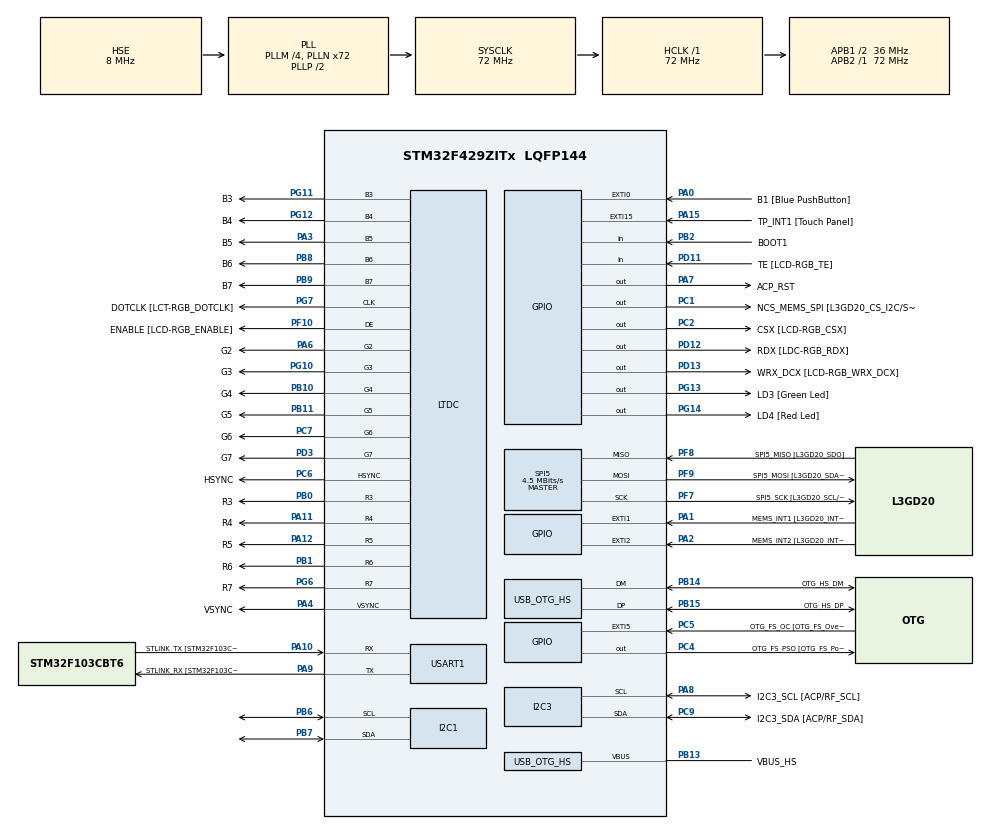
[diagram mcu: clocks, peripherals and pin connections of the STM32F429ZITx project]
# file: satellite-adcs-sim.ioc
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FREERTOS.Tasks01=defaultTask,0,4096,StartDefaultTask,Default,NULL,Dynamic,NULL,NULL
FREERTOS.configCHECK_FOR_STACK_OVERFLOW=2
FREERTOS.configTOTAL_HEAP_SIZE=32768
FREERTOS.configUSE_APPLICATION_TASK_TAG=1
FREERTOS.configUSE_COUNTING_SEMAPHORES=1
FREERTOS.configUSE_IDLE_HOOK=1
FREERTOS.configUSE_MALLOC_FAILED_HOOK=1
FREERTOS.configUSE_RECURSIVE_MUTEXES=1
LTDC.ActiveH=320
LTDC.ActiveW=240
LTDC.Alpha_L0=255
LTDC.BlendingFactor1_L0=LTDC_BLENDING_FACTOR1_PAxCA
LTDC.BlendingFactor2_L0=LTDC_BLENDING_FACTOR2_PAxCA
LTDC.FBStartAdress_L0=0xD0000000
LTDC.HBP=20
LTDC.HFP=10
LTDC.HSync=10
LTDC.ImageHeight_L0=320
LTDC.ImageWidth_L0=240
LTDC.Layers=0
LTDC.PixelFormat_L0=LTDC_PIXEL_FORMAT_RGB565
LTDC.VFP=4
LTDC.VSync=2
LTDC.WindowX1_L0=240
LTDC.WindowY1_L0=320
Mcu.Family=STM32F4
Mcu.Name=STM32F429ZITx
Mcu.Package=LQFP144
NVIC.DMA2D_IRQn=true\:5\:0\:true\:false\:true\:true\:true\:true\:true
NVIC.LTDC_IRQn=true\:5\:0\:true\:false\:true\:true\:true\:true\:true
NVIC.OTG_HS_IRQn=true\:5\:0\:false\:false\:true\:true\:true\:true\:true
NVIC.PriorityGroup=NVIC_PRIORITYGROUP_4
NVIC.TIM6_DAC_IRQn=true\:0\:0\:false\:false\:true\:false\:false\:true\:true
NVIC.TimeBase=TIM6_DAC_IRQn
NVIC.TimeBaseIP=TIM6
PA0/WKUP.GPIO_Label=B1 [Blue PushButton]
PA0/WKUP.GPIO_ModeDefaultEXTI=GPIO_MODE_EVT_RISING
PA0/WKUP.GPIO_PuPd=GPIO_NOPULL
PA0/WKUP.Signal=GPXTI0
PA1.GPIO_Label=MEMS_INT1 [L3GD20_INT1]
PA1.GPIO_ModeDefaultEXTI=GPIO_MODE_EVT_RISING
PA1.GPIO_PuPd=GPIO_NOPULL
PA1.Signal=GPXTI1
PA10.GPIO_Label=STLINK_TX [STM32F103CBT6_PA2]
PA10.Mode=Asynchronous
PA10.Signal=USART1_RX
PA11.GPIO_Label=R4
PA11.GPIO_Mode=GPIO_MODE_AF_PP
PA11.GPIO_PuPd=GPIO_NOPULL
PA11.GPIO_Speed=GPIO_SPEED_FREQ_LOW
PA11.Mode=RGB565
PA11.Signal=LTDC_R4
PA12.GPIO_Label=R5
PA12.GPIO_Mode=GPIO_MODE_AF_PP
PA12.GPIO_PuPd=GPIO_NOPULL
PA12.GPIO_Speed=GPIO_SPEED_FREQ_LOW
PA12.Mode=RGB565
PA12.Signal=LTDC_R5
PA13.GPIO_Label=SWDIO
PA13.Mode=Serial_Wire
PA13.Signal=SYS_JTMS-SWDIO
PA14.GPIO_Label=SWCLK
PA14.Mode=Serial_Wire
PA14.Signal=SYS_JTCK-SWCLK
PA15.GPIO_Label=TP_INT1 [Touch Panel]
PA15.GPIO_ModeDefaultEXTI=GPIO_MODE_EVT_RISING
PA15.GPIO_PuPd=GPIO_NOPULL
PA15.Signal=GPXTI15
PA2.GPIO_Label=MEMS_INT2 [L3GD20_INT2]
PA2.GPIO_ModeDefaultEXTI=GPIO_MODE_EVT_RISING
PA2.GPIO_PuPd=GPIO_NOPULL
PA2.Signal=GPXTI2
PA3.GPIO_Label=B5
PA3.GPIO_Mode=GPIO_MODE_AF_PP
PA3.GPIO_PuPd=GPIO_NOPULL
PA3.GPIO_Speed=GPIO_SPEED_FREQ_LOW
PA3.Mode=RGB565
PA3.Signal=LTDC_B5
PA4.GPIO_Label=VSYNC
PA4.GPIO_Mode=GPIO_MODE_AF_PP
PA4.GPIO_PuPd=GPIO_NOPULL
PA4.GPIO_Speed=GPIO_SPEED_FREQ_LOW
PA4.Mode=RGB565
PA4.Signal=LTDC_VSYNC
PA6.GPIO_Label=G2
PA6.GPIO_Mode=GPIO_MODE_AF_PP
PA6.GPIO_PuPd=GPIO_NOPULL
PA6.GPIO_Speed=GPIO_SPEED_FREQ_LOW
PA6.Mode=RGB565
PA6.Signal=LTDC_G2
PA7.GPIO_Label=ACP_RST
PA7.GPIO_Mode=GPIO_MODE_OUTPUT_PP
PA7.GPIO_PuPd=GPIO_NOPULL
PA7.GPIO_Speed=GPIO_SPEED_FREQ_LOW
PA7.Signal=GPIO_Output
PA8.GPIO_Label=I2C3_SCL [ACP/RF_SCL]
PA8.GPIO_Mode=GPIO_MODE_AF_OD
PA8.GPIO_Pu=GPIO_PULLUP
PA8.GPIO_PuPd=GPIO_NOPULL
PA8.GPIO_Speed=GPIO_SPEED_FREQ_LOW
PA8.Mode=I2C
PA8.Signal=I2C3_SCL
PA9.GPIO_Label=STLINK_RX [STM32F103CBT6_PA3]
PA9.Mode=Asynchronous
PA9.Signal=USART1_TX
PB0.GPIO_Label=R3
PB0.GPIO_Mode=GPIO_MODE_AF_PP
PB0.GPIO_PuPd=GPIO_NOPULL
PB0.GPIO_Speed=GPIO_SPEED_FREQ_LOW
PB0.Mode=RGB565
PB0.Signal=LTDC_R3
PB1.GPIO_Label=R6
PB1.GPIO_Mode=GPIO_MODE_AF_PP
PB1.GPIO_PuPd=GPIO_NOPULL
PB1.GPIO_Speed=GPIO_SPEED_FREQ_LOW
PB1.Mode=RGB565
PB1.Signal=LTDC_R6
PB10.GPIO_Label=G4
PB10.GPIO_Mode=GPIO_MODE_AF_PP
PB10.GPIO_PuPd=GPIO_NOPULL
PB10.GPIO_Speed=GPIO_SPEED_FREQ_LOW
PB10.Mode=RGB565
PB10.Signal=LTDC_G4
PB11.GPIO_Label=G5
PB11.GPIO_Mode=GPIO_MODE_AF_PP
PB11.GPIO_PuPd=GPIO_NOPULL
PB11.GPIO_Speed=GPIO_SPEED_FREQ_LOW
PB11.Mode=RGB565
PB11.Signal=LTDC_G5
PB12.GPIO_Label=OTG_HS_ID
PB12.GPIO_Mode=GPIO_MODE_AF_PP
PB12.GPIO_PuPd=GPIO_NOPULL
PB12.GPIO_Speed=GPIO_SPEED_FREQ_LOW
PB12.Signal=USB_OTG_HS_ID
PB13.GPIO_Label=VBUS_HS
PB13.GPIO_Mode=GPIO_MODE_INPUT
PB13.GPIO_PuPd=GPIO_NOPULL
PB13.Mode=Activate_VBUS_FS
PB13.Signal=USB_OTG_HS_VBUS
PB14.GPIO_Label=OTG_HS_DM
PB14.GPIO_Mode=GPIO_MODE_AF_PP
PB14.GPIO_PuPd=GPIO_NOPULL
PB14.GPIO_Speed=GPIO_SPEED_FREQ_LOW
PB14.Mode=Host_FS
PB14.Signal=USB_OTG_HS_DM
PB15.GPIO_Label=OTG_HS_DP
PB15.GPIO_Mode=GPIO_MODE_AF_PP
PB15.GPIO_PuPd=GPIO_NOPULL
PB15.GPIO_Speed=GPIO_SPEED_FREQ_LOW
PB15.Mode=Host_FS
PB15.Signal=USB_OTG_HS_DP
PB2/BOOT1.GPIO_Label=BOOT1
PB2/BOOT1.GPIO_Mode=GPIO_MODE_INPUT
PB2/BOOT1.GPIO_PuPd=GPIO_NOPULL
PB2/BOOT1.Signal=GPIO_Input
PB5.GPIO_Label=SDCKE1
PB5.GPIO_Mode=GPIO_MODE_AF_PP
PB5.GPIO_PuPd=GPIO_NOPULL
PB5.GPIO_Speed=GPIO_SPEED_FREQ_VERY_HIGH
PB5.Signal=FMC_SDCKE1
PB6.Mode=I2C
PB6.Signal=I2C1_SCL
PB7.Mode=I2C
PB7.Signal=I2C1_SDA
PB8.GPIO_Label=B6
PB8.GPIO_Mode=GPIO_MODE_AF_PP
PB8.GPIO_PuPd=GPIO_NOPULL
PB8.GPIO_Speed=GPIO_SPEED_FREQ_LOW
PB8.Mode=RGB565
PB8.Signal=LTDC_B6
PB9.GPIO_Label=B7
PB9.GPIO_Mode=GPIO_MODE_AF_PP
PB9.GPIO_PuPd=GPIO_NOPULL
PB9.GPIO_Speed=GPIO_SPEED_FREQ_LOW
PB9.Mode=RGB565
PB9.Signal=LTDC_B7
PC0.GPIO_Label=SDNWE
PC0.GPIO_Mode=GPIO_MODE_AF_PP
PC0.GPIO_PuPd=GPIO_NOPULL
PC0.GPIO_Speed=GPIO_SPEED_FREQ_VERY_HIGH
PC0.Signal=FMC_SDNWE
PC1.GPIO_Label=NCS_MEMS_SPI [L3GD20_CS_I2C/SPI]
PC1.GPIO_Mode=GPIO_MODE_OUTPUT_PP
PC1.GPIO_PuPd=GPIO_NOPULL
PC1.GPIO_Speed=GPIO_SPEED_FREQ_LOW
PC1.Signal=GPIO_Output
PC10.GPIO_Label=R2
PC10.GPIO_Mode=GPIO_MODE_AF_PP
PC10.GPIO_PuPd=GPIO_NOPULL
PC10.GPIO_Speed=GPIO_SPEED_FREQ_LOW
PC10.Signal=LTDC_R2
PC14/OSC32_IN.GPIO_Label=PC14-OSC32_IN
PC14/OSC32_IN.Signal=RCC_OSC32_IN
PC15/OSC32_OUT.GPIO_Label=PC15-OSC32_OUT
PC15/OSC32_OUT.Signal=RCC_OSC32_OUT
PC2.GPIO_Label=CSX [LCD-RGB_CSX]
PC2.GPIO_Mode=GPIO_MODE_OUTPUT_PP
PC2.GPIO_PuPd=GPIO_NOPULL
PC2.GPIO_Speed=GPIO_SPEED_FREQ_LOW
PC2.Signal=GPIO_Output
PC4.GPIO_Label=OTG_FS_PSO [OTG_FS_PowerSwitchOn]
PC4.GPIO_Mode=GPIO_MODE_OUTPUT_PP
PC4.GPIO_PuPd=GPIO_NOPULL
PC4.GPIO_Speed=GPIO_SPEED_FREQ_LOW
PC4.Signal=GPIO_Output
PC5.GPIO_Label=OTG_FS_OC [OTG_FS_OverCurrent]
PC5.GPIO_ModeDefaultEXTI=GPIO_MODE_EVT_RISING
PC5.Signal=GPXTI5
PC6.GPIO_Label=HSYNC
PC6.GPIO_Mode=GPIO_MODE_AF_PP
PC6.GPIO_PuPd=GPIO_NOPULL
PC6.GPIO_Speed=GPIO_SPEED_FREQ_LOW
PC6.Mode=RGB565
PC6.Signal=LTDC_HSYNC
PC7.GPIO_Label=G6
PC7.GPIO_Mode=GPIO_MODE_AF_PP
PC7.GPIO_PuPd=GPIO_NOPULL
PC7.GPIO_Speed=GPIO_SPEED_FREQ_LOW
PC7.Mode=RGB565
PC7.Signal=LTDC_G6
PC9.GPIO_Label=I2C3_SDA [ACP/RF_SDA]
PC9.GPIO_Mode=GPIO_MODE_AF_OD
PC9.GPIO_Pu=GPIO_PULLUP
PC9.GPIO_PuPd=GPIO_NOPULL
PC9.GPIO_Speed=GPIO_SPEED_FREQ_LOW
PC9.Mode=I2C
PC9.Signal=I2C3_SDA
PD0.GPIO_Label=D2
PD0.GPIO_Mode=GPIO_MODE_AF_PP
PD0.GPIO_PuPd=GPIO_NOPULL
PD0.GPIO_Speed=GPIO_SPEED_FREQ_VERY_HIGH
PD0.Signal=FMC_D2_DA2
PD1.GPIO_Label=D3
PD1.GPIO_Mode=GPIO_MODE_AF_PP
PD1.GPIO_PuPd=GPIO_NOPULL
PD1.GPIO_Speed=GPIO_SPEED_FREQ_VERY_HIGH
PD1.Signal=FMC_D3_DA3
PD10.GPIO_Label=D15
PD10.GPIO_Mode=GPIO_MODE_AF_PP
PD10.GPIO_PuPd=GPIO_NOPULL
PD10.GPIO_Speed=GPIO_SPEED_FREQ_VERY_HIGH
PD10.Signal=FMC_D15_DA15
PD11.GPIO_Label=TE [LCD-RGB_TE]
PD11.GPIO_Mode=GPIO_MODE_INPUT
PD11.GPIO_PuPd=GPIO_NOPULL
PD11.Signal=GPIO_Input
PD12.GPIO_Label=RDX [LDC-RGB_RDX]
PD12.GPIO_Mode=GPIO_MODE_OUTPUT_PP
PD12.GPIO_PuPd=GPIO_NOPULL
PD12.GPIO_Speed=GPIO_SPEED_FREQ_LOW
PD12.Signal=GPIO_Output
PD13.GPIO_Label=WRX_DCX [LCD-RGB_WRX_DCX]
PD13.GPIO_Mode=GPIO_MODE_OUTPUT_PP
PD13.GPIO_PuPd=GPIO_NOPULL
PD13.GPIO_Speed=GPIO_SPEED_FREQ_LOW
PD13.Signal=GPIO_Output
PD14.GPIO_Label=D0
PD14.GPIO_Mode=GPIO_MODE_AF_PP
PD14.GPIO_PuPd=GPIO_NOPULL
PD14.GPIO_Speed=GPIO_SPEED_FREQ_VERY_HIGH
PD14.Signal=FMC_D0_DA0
PD15.GPIO_Label=D1
PD15.GPIO_Mode=GPIO_MODE_AF_PP
PD15.GPIO_PuPd=GPIO_NOPULL
PD15.GPIO_Speed=GPIO_SPEED_FREQ_VERY_HIGH
PD15.Signal=FMC_D1_DA1
PD3.GPIO_Label=G7
PD3.GPIO_Mode=GPIO_MODE_AF_PP
PD3.GPIO_PuPd=GPIO_NOPULL
PD3.GPIO_Speed=GPIO_SPEED_FREQ_LOW
PD3.Mode=RGB565
PD3.Signal=LTDC_G7
PD6.GPIO_Label=B2
PD6.GPIO_Mode=GPIO_MODE_AF_PP
PD6.GPIO_PuPd=GPIO_NOPULL
PD6.GPIO_Speed=GPIO_SPEED_FREQ_LOW
PD6.Signal=LTDC_B2
PD8.GPIO_Label=D13
PD8.GPIO_Mode=GPIO_MODE_AF_PP
PD8.GPIO_PuPd=GPIO_NOPULL
PD8.GPIO_Speed=GPIO_SPEED_FREQ_VERY_HIGH
PD8.Signal=FMC_D13_DA13
PD9.GPIO_Label=D14
PD9.GPIO_Mode=GPIO_MODE_AF_PP
PD9.GPIO_PuPd=GPIO_NOPULL
PD9.GPIO_Speed=GPIO_SPEED_FREQ_VERY_HIGH
PD9.Signal=FMC_D14_DA14
PE0.GPIO_Label=NBL0 [SDRAM_LDQM]
PE0.GPIO_Mode=GPIO_MODE_AF_PP
PE0.GPIO_PuPd=GPIO_NOPULL
PE0.GPIO_Speed=GPIO_SPEED_FREQ_VERY_HIGH
PE0.Signal=FMC_NBL0
PE1.GPIO_Label=NBL1 [SDRAM_UDQM]
PE1.GPIO_Mode=GPIO_MODE_AF_PP
PE1.GPIO_PuPd=GPIO_NOPULL
PE1.GPIO_Speed=GPIO_SPEED_FREQ_VERY_HIGH
PE1.Signal=FMC_NBL1
PE10.GPIO_Label=D7
PE10.GPIO_Mode=GPIO_MODE_AF_PP
PE10.GPIO_PuPd=GPIO_NOPULL
PE10.GPIO_Speed=GPIO_SPEED_FREQ_VERY_HIGH
PE10.Signal=FMC_D7_DA7
PE11.GPIO_Label=D8
PE11.GPIO_Mode=GPIO_MODE_AF_PP
PE11.GPIO_PuPd=GPIO_NOPULL
PE11.GPIO_Speed=GPIO_SPEED_FREQ_VERY_HIGH
PE11.Signal=FMC_D8_DA8
PE12.GPIO_Label=D9
PE12.GPIO_Mode=GPIO_MODE_AF_PP
PE12.GPIO_PuPd=GPIO_NOPULL
PE12.GPIO_Speed=GPIO_SPEED_FREQ_VERY_HIGH
PE12.Signal=FMC_D9_DA9
PE13.GPIO_Label=D10
PE13.GPIO_Mode=GPIO_MODE_AF_PP
PE13.GPIO_PuPd=GPIO_NOPULL
PE13.GPIO_Speed=GPIO_SPEED_FREQ_VERY_HIGH
PE13.Signal=FMC_D10_DA10
PE14.GPIO_Label=D11
PE14.GPIO_Mode=GPIO_MODE_AF_PP
PE14.GPIO_PuPd=GPIO_NOPULL
PE14.GPIO_Speed=GPIO_SPEED_FREQ_VERY_HIGH
PE14.Signal=FMC_D11_DA11
PE15.GPIO_Label=D12
PE15.GPIO_Mode=GPIO_MODE_AF_PP
PE15.GPIO_PuPd=GPIO_NOPULL
PE15.GPIO_Speed=GPIO_SPEED_FREQ_VERY_HIGH
PE15.Signal=FMC_D12_DA12
PE7.GPIO_Label=D4
PE7.GPIO_Mode=GPIO_MODE_AF_PP
PE7.GPIO_PuPd=GPIO_NOPULL
PE7.GPIO_Speed=GPIO_SPEED_FREQ_VERY_HIGH
PE7.Signal=FMC_D4_DA4
PE8.GPIO_Label=D5
PE8.GPIO_Mode=GPIO_MODE_AF_PP
PE8.GPIO_PuPd=GPIO_NOPULL
PE8.GPIO_Speed=GPIO_SPEED_FREQ_VERY_HIGH
PE8.Signal=FMC_D5_DA5
PE9.GPIO_Label=D6
PE9.GPIO_Mode=GPIO_MODE_AF_PP
PE9.GPIO_PuPd=GPIO_NOPULL
PE9.GPIO_Speed=GPIO_SPEED_FREQ_VERY_HIGH
PE9.Signal=FMC_D6_DA6
PF0.GPIO_Label=A0
PF0.GPIO_Mode=GPIO_MODE_AF_PP
PF0.GPIO_PuPd=GPIO_NOPULL
PF0.GPIO_Speed=GPIO_SPEED_FREQ_VERY_HIGH
PF0.Signal=FMC_A0
PF1.GPIO_Label=A1
PF1.GPIO_Mode=GPIO_MODE_AF_PP
PF1.GPIO_PuPd=GPIO_NOPULL
PF1.GPIO_Speed=GPIO_SPEED_FREQ_VERY_HIGH
PF1.Signal=FMC_A1
PF10.GPIO_Label=ENABLE [LCD-RGB_ENABLE]
PF10.GPIO_Mode=GPIO_MODE_AF_PP
PF10.GPIO_PuPd=GPIO_NOPULL
PF10.GPIO_Speed=GPIO_SPEED_FREQ_LOW
PF10.Mode=RGB565
PF10.Signal=LTDC_DE
PF11.GPIO_Label=SDNRAS
PF11.GPIO_Mode=GPIO_MODE_AF_PP
PF11.GPIO_PuPd=GPIO_NOPULL
PF11.GPIO_Speed=GPIO_SPEED_FREQ_VERY_HIGH
PF11.Signal=FMC_SDNRAS
PF12.GPIO_Label=A6
PF12.GPIO_Mode=GPIO_MODE_AF_PP
PF12.GPIO_PuPd=GPIO_NOPULL
PF12.GPIO_Speed=GPIO_SPEED_FREQ_VERY_HIGH
PF12.Signal=FMC_A6
PF13.GPIO_Label=A7
PF13.GPIO_Mode=GPIO_MODE_AF_PP
PF13.GPIO_PuPd=GPIO_NOPULL
PF13.GPIO_Speed=GPIO_SPEED_FREQ_VERY_HIGH
PF13.Signal=FMC_A7
PF14.GPIO_Label=A8
PF14.GPIO_Mode=GPIO_MODE_AF_PP
PF14.GPIO_PuPd=GPIO_NOPULL
PF14.GPIO_Speed=GPIO_SPEED_FREQ_VERY_HIGH
PF14.Signal=FMC_A8
PF15.GPIO_Label=A9
PF15.GPIO_Mode=GPIO_MODE_AF_PP
PF15.GPIO_PuPd=GPIO_NOPULL
PF15.GPIO_Speed=GPIO_SPEED_FREQ_VERY_HIGH
PF15.Signal=FMC_A9
PF2.GPIO_Label=A2
PF2.GPIO_Mode=GPIO_MODE_AF_PP
PF2.GPIO_PuPd=GPIO_NOPULL
PF2.GPIO_Speed=GPIO_SPEED_FREQ_VERY_HIGH
PF2.Signal=FMC_A2
PF3.GPIO_Label=A3
PF3.GPIO_Mode=GPIO_MODE_AF_PP
PF3.GPIO_PuPd=GPIO_NOPULL
PF3.GPIO_Speed=GPIO_SPEED_FREQ_VERY_HIGH
PF3.Signal=FMC_A3
PF4.GPIO_Label=A4
PF4.GPIO_Mode=GPIO_MODE_AF_PP
PF4.GPIO_PuPd=GPIO_NOPULL
PF4.GPIO_Speed=GPIO_SPEED_FREQ_VERY_HIGH
PF4.Signal=FMC_A4
PF5.GPIO_Label=A5
PF5.GPIO_Mode=GPIO_MODE_AF_PP
PF5.GPIO_PuPd=GPIO_NOPULL
PF5.GPIO_Speed=GPIO_SPEED_FREQ_VERY_HIGH
PF5.Signal=FMC_A5
PF7.GPIO_Label=SPI5_SCK [L3GD20_SCL/SPC]
PF7.GPIO_Mode=GPIO_MODE_AF_PP
PF7.GPIO_PuPd=GPIO_NOPULL
PF7.GPIO_Speed=GPIO_SPEED_FREQ_LOW
PF7.Mode=Full_Duplex_Master
PF7.Signal=SPI5_SCK
PF8.GPIO_Label=SPI5_MISO [L3GD20_SDO]
PF8.GPIO_Mode=GPIO_MODE_AF_PP
PF8.GPIO_PuPd=GPIO_NOPULL
PF8.GPIO_Speed=GPIO_SPEED_FREQ_LOW
PF8.Mode=Full_Duplex_Master
PF8.Signal=SPI5_MISO
PF9.GPIO_Label=SPI5_MOSI [L3GD20_SDA/SDI/SDO]
PF9.GPIO_Mode=GPIO_MODE_AF_PP
PF9.GPIO_PuPd=GPIO_NOPULL
PF9.GPIO_Speed=GPIO_SPEED_FREQ_LOW
PF9.Mode=Full_Duplex_Master
PF9.Signal=SPI5_MOSI
PG0.GPIO_Label=A10
PG0.GPIO_Mode=GPIO_MODE_AF_PP
PG0.GPIO_PuPd=GPIO_NOPULL
PG0.GPIO_Speed=GPIO_SPEED_FREQ_VERY_HIGH
PG0.Signal=FMC_A10
PG1.GPIO_Label=A11
PG1.GPIO_Mode=GPIO_MODE_AF_PP
PG1.GPIO_PuPd=GPIO_NOPULL
PG1.GPIO_Speed=GPIO_SPEED_FREQ_VERY_HIGH
PG1.Signal=FMC_A11
PG10.GPIO_Label=G3
PG10.GPIO_Mode=GPIO_MODE_AF_PP
PG10.GPIO_PuPd=GPIO_NOPULL
PG10.GPIO_Speed=GPIO_SPEED_FREQ_LOW
PG10.Mode=RGB565
PG10.Signal=LTDC_G3
PG11.GPIO_Label=B3
PG11.GPIO_Mode=GPIO_MODE_AF_PP
PG11.GPIO_PuPd=GPIO_NOPULL
PG11.GPIO_Speed=GPIO_SPEED_FREQ_LOW
PG11.Mode=RGB565
PG11.Signal=LTDC_B3
PG12.GPIO_Label=B4
PG12.GPIO_Mode=GPIO_MODE_AF_PP
PG12.GPIO_PuPd=GPIO_NOPULL
PG12.GPIO_Speed=GPIO_SPEED_FREQ_LOW
PG12.Mode=RGB565
PG12.Signal=LTDC_B4
PG13.GPIO_Label=LD3 [Green Led]
PG13.GPIO_Mode=GPIO_MODE_OUTPUT_PP
PG13.GPIO_PuPd=GPIO_NOPULL
PG13.GPIO_Speed=GPIO_SPEED_FREQ_LOW
PG13.Signal=GPIO_Output
PG14.GPIO_Label=LD4 [Red Led]
PG14.GPIO_Mode=GPIO_MODE_OUTPUT_PP
PG14.GPIO_PuPd=GPIO_NOPULL
PG14.GPIO_Speed=GPIO_SPEED_FREQ_LOW
PG14.Signal=GPIO_Output
PG15.GPIO_Label=SDNCAS
PG15.GPIO_Mode=GPIO_MODE_AF_PP
PG15.GPIO_PuPd=GPIO_NOPULL
PG15.GPIO_Speed=GPIO_SPEED_FREQ_VERY_HIGH
PG15.Signal=FMC_SDNCAS
PG4.GPIO_Label=BA0
PG4.GPIO_Mode=GPIO_MODE_AF_PP
PG4.GPIO_PuPd=GPIO_NOPULL
PG4.GPIO_Speed=GPIO_SPEED_FREQ_VERY_HIGH
PG4.Signal=FMC_A14_BA0
PG5.GPIO_Label=BA1
PG5.GPIO_Mode=GPIO_MODE_AF_PP
PG5.GPIO_PuPd=GPIO_NOPULL
PG5.GPIO_Speed=GPIO_SPEED_FREQ_VERY_HIGH
PG5.Signal=FMC_A15_BA1
PG6.GPIO_Label=R7
PG6.GPIO_Mode=GPIO_MODE_AF_PP
PG6.GPIO_PuPd=GPIO_NOPULL
PG6.GPIO_Speed=GPIO_SPEED_FREQ_LOW
PG6.Mode=RGB565
PG6.Signal=LTDC_R7
PG7.GPIO_Label=DOTCLK [LCT-RGB_DOTCLK]
PG7.GPIO_Mode=GPIO_MODE_AF_PP
PG7.GPIO_PuPd=GPIO_NOPULL
PG7.GPIO_Speed=GPIO_SPEED_FREQ_LOW
PG7.Mode=RGB565
PG7.Signal=LTDC_CLK
PG8.GPIO_Label=SDCLK
PG8.GPIO_Mode=GPIO_MODE_AF_PP
PG8.GPIO_PuPd=GPIO_NOPULL
PG8.GPIO_Speed=GPIO_SPEED_FREQ_VERY_HIGH
PG8.Signal=FMC_SDCLK
PH0/OSC_IN.GPIO_Label=PH0-OSC_IN
PH0/OSC_IN.Mode=HSE-External-Oscillator
PH0/OSC_IN.Signal=RCC_OSC_IN
PH1/OSC_OUT.GPIO_Label=PH1-OSC_OUT
PH1/OSC_OUT.Mode=HSE-External-Oscillator
PH1/OSC_OUT.Signal=RCC_OSC_OUT
ProjectManager.HeapSize=0x200
ProjectManager.StackSize=0x400
ProjectManager.TargetToolchain=STM32CubeIDE
RCC.48MHZClocksFreq_Value=48000000
RCC.AHBFreq_Value=72000000
RCC.APB1CLKDivider=RCC_HCLK_DIV2
RCC.APB1Freq_Value=36000000
RCC.APB1TimFreq_Value=72000000
RCC.APB2Freq_Value=72000000
RCC.APB2TimFreq_Value=72000000
RCC.CortexFreq_Value=72000000
RCC.HCLKFreq_Value=72000000
RCC.HSE_VALUE=8000000
RCC.HSI_VALUE=16000000
RCC.LSE_VALUE=32768
RCC.PLLM=4
RCC.PLLN=72
RCC.PLLQ=3
RCC.PLLSAIN=50
RCC.SYSCLKFreq_VALUE=72000000
RCC.SYSCLKSource=RCC_SYSCLKSOURCE_PLLCLK
RCC.VCOOutputFreq_Value=144000000
SH.FMC_A0.0=FMC_A0
SH.FMC_A1.0=FMC_A1
SH.FMC_A10.0=FMC_A10
SH.FMC_A11.0=FMC_A11
SH.FMC_A14_BA0.0=FMC_BA0
SH.FMC_A15_BA1.0=FMC_BA1
SH.FMC_A2.0=FMC_A2
SH.FMC_A3.0=FMC_A3
SH.FMC_A4.0=FMC_A4
SH.FMC_A5.0=FMC_A5
SH.FMC_A6.0=FMC_A6
SH.FMC_A7.0=FMC_A7
SH.FMC_A8.0=FMC_A8
SH.FMC_A9.0=FMC_A9
SH.FMC_D0_DA0.0=FMC_D0
SH.FMC_D10_DA10.0=FMC_D10
SH.FMC_D11_DA11.0=FMC_D11
SH.FMC_D12_DA12.0=FMC_D12
SH.FMC_D13_DA13.0=FMC_D13
SH.FMC_D14_DA14.0=FMC_D14
SH.FMC_D15_DA15.0=FMC_D15
SH.FMC_D1_DA1.0=FMC_D1
SH.FMC_D2_DA2.0=FMC_D2
SH.FMC_D3_DA3.0=FMC_D3
SH.FMC_D4_DA4.0=FMC_D4
SH.FMC_D5_DA5.0=FMC_D5
SH.FMC_D6_DA6.0=FMC_D6
SH.FMC_D7_DA7.0=FMC_D7
SH.FMC_D8_DA8.0=FMC_D8
SH.FMC_D9_DA9.0=FMC_D9
SH.FMC_NBL0.0=FMC_NBL0
SH.FMC_NBL1.0=FMC_NBL1
SH.FMC_SDCLK.0=FMC_SDCLK
SH.FMC_SDNCAS.0=FMC_SDNCAS
SH.FMC_SDNRAS.0=FMC_SDNRAS
SH.FMC_SDNWE.0=FMC_SDNWE
SPI5.BaudRatePrescaler=SPI_BAUDRATEPRESCALER_16
SPI5.CalculateBaudRate=4.5 MBits/s
SPI5.Direction=SPI_DIRECTION_2LINES
SPI5.Mode=SPI_MODE_MASTER
SPI5.VirtualType=VM_MASTER
USART1.VirtualMode=VM_ASYNC
USB_HOST.BSP.number=1
USB_HOST.USBH_HandleTypeDef-CDC_HS=hUsbHostHS
USB_HOST.VirtualModeHS=Cdc
USB_HOST0.BSP.STBoard=false
USB_HOST0.BSP.api=UnknownBspDriver
USB_HOST0.BSP.instance=PC4
USB_HOST0.BSP.ip=GPIO
USB_HOST0.BSP.mode=Output
USB_HOST0.BSP.name=Drive_VBUS_HS
USB_HOST0.BSP.solution=PC4
USB_OTG_HS.VirtualMode-Host_FS=Host_FS
VP_CRC_VS_CRC.Mode=CRC_Activate
VP_DMA2D_VS_DMA2D.Mode=DMA2D_Activate
VP_FREERTOS_VS_CMSIS_V1.Mode=CMSIS_V1
VP_SYS_VS_tim6.Mode=TIM6
VP_TIM1_VS_ClockSourceINT.Mode=Internal
VP_USB_HOST_VS_USB_HOST_CDC_HS.Mode=CDC_HS
board=STM32F429I-DISC1

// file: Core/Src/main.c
/* USER CODE BEGIN Header */
/**
  ******************************************************************************
  * @file           : main.c
  * @brief          : Main program body
  ******************************************************************************
  * @attention
  *
  * Copyright (c) 2026 STMicroelectronics.
  * All rights reserved.
  *
  * This software is licensed under terms that can be found in the LICENSE file
  * in the root directory of this software component.
  * If no LICENSE file comes with this software, it is provided AS-IS.
  *
  ******************************************************************************
  */
/* USER CODE END Header */
#include "main.h"
#include "cmsis_os.h"
#include "usb_host.h"
#include "shared_data.h"
/* USER CODE BEGIN Includes */
#include <stdio.h>
#include <string.h>
#include <stdbool.h>
/* USER CODE END Includes */

CRC_HandleTypeDef hcrc;

DMA2D_HandleTypeDef hdma2d;

I2C_HandleTypeDef hi2c1;
I2C_HandleTypeDef hi2c3;

LTDC_HandleTypeDef hltdc;

SPI_HandleTypeDef hspi5;

TIM_HandleTypeDef htim1;

UART_HandleTypeDef huart1;

osThreadId defaultTaskHandle;

void SystemClock_Config(void);
static void MX_GPIO_Init(void);
static void MX_CRC_Init(void);
static void MX_DMA2D_Init(void);
static void MX_I2C3_Init(void);
static void MX_LTDC_Init(void);
static void MX_SPI5_Init(void);
static void MX_TIM1_Init(void);
static void MX_USART1_UART_Init(void);
static void MX_I2C1_Init(void);
void StartDefaultTask(void const * argument);

/* USER CODE BEGIN PFP */
extern void MX_FREERTOS_Init(void);
/* USER CODE END PFP */

int main(void)
{

  /* MCU Configuration--------------------------------------------------------*/

  /* Reset of all peripherals, Initializes the Flash interface and the Systick. */
  HAL_Init();

  /* Configure the system clock */
  SystemClock_Config();

  /* Initialize all configured peripherals */
  MX_GPIO_Init();
  MX_CRC_Init();
  MX_DMA2D_Init();
  MX_I2C3_Init();
  MX_LTDC_Init();
  MX_SPI5_Init();
  MX_TIM1_Init();
  MX_USART1_UART_Init();
  MX_I2C1_Init();

  /* Create the thread(s) */
  /* definition and creation of defaultTask */
  osThreadDef(defaultTask, StartDefaultTask, osPriorityNormal, 0, 4096);
  defaultTaskHandle = osThreadCreate(osThread(defaultTask), NULL);

  /* USER CODE BEGIN RTOS_THREADS */
  MX_FREERTOS_Init();
  /* USER CODE END RTOS_THREADS */

  /* Start scheduler */
  osKernelStart();

  /* We should never get here as control is now taken by the scheduler */

  /* Infinite loop */
  while (1)
  {

  }
}

void SystemClock_Config(void)
{
  RCC_OscInitTypeDef RCC_OscInitStruct = {0};
  RCC_ClkInitTypeDef RCC_ClkInitStruct = {0};

  /** Configure the main internal regulator output voltage
  */
  __HAL_RCC_PWR_CLK_ENABLE();
  __HAL_PWR_VOLTAGESCALING_CONFIG(PWR_REGULATOR_VOLTAGE_SCALE3);

  /** Initializes the RCC Oscillators according to the specified parameters
  * in the RCC_OscInitTypeDef structure.
  */
  RCC_OscInitStruct.OscillatorType = RCC_OSCILLATORTYPE_HSE;
  RCC_OscInitStruct.HSEState = RCC_HSE_ON;
  RCC_OscInitStruct.PLL.PLLState = RCC_PLL_ON;
  RCC_OscInitStruct.PLL.PLLSource = RCC_PLLSOURCE_HSE;
  RCC_OscInitStruct.PLL.PLLM = 4;
  RCC_OscInitStruct.PLL.PLLN = 72;
  RCC_OscInitStruct.PLL.PLLP = RCC_PLLP_DIV2;
  RCC_OscInitStruct.PLL.PLLQ = 3;
  if (HAL_RCC_OscConfig(&RCC_OscInitStruct) != HAL_OK)
  {
    Error_Handler();
  }

  /** Initializes the CPU, AHB and APB buses clocks
  */
  RCC_ClkInitStruct.ClockType = RCC_CLOCKTYPE_HCLK|RCC_CLOCKTYPE_SYSCLK
                              |RCC_CLOCKTYPE_PCLK1|RCC_CLOCKTYPE_PCLK2;
  RCC_ClkInitStruct.SYSCLKSource = RCC_SYSCLKSOURCE_PLLCLK;
  RCC_ClkInitStruct.AHBCLKDivider = RCC_SYSCLK_DIV1;
  RCC_ClkInitStruct.APB1CLKDivider = RCC_HCLK_DIV2;
  RCC_ClkInitStruct.APB2CLKDivider = RCC_HCLK_DIV1;

  if (HAL_RCC_ClockConfig(&RCC_ClkInitStruct, FLASH_LATENCY_2) != HAL_OK)
  {
    Error_Handler();
  }
}

static void MX_CRC_Init(void)
{

  hcrc.Instance = CRC;
  if (HAL_CRC_Init(&hcrc) != HAL_OK)
  {
    Error_Handler();
  }

}

static void MX_DMA2D_Init(void)
{

  hdma2d.Instance = DMA2D;
  hdma2d.Init.Mode = DMA2D_M2M;
  hdma2d.Init.ColorMode = DMA2D_OUTPUT_ARGB8888;
  hdma2d.Init.OutputOffset = 0;
  hdma2d.LayerCfg[1].InputOffset = 0;
  hdma2d.LayerCfg[1].InputColorMode = DMA2D_INPUT_ARGB8888;
  hdma2d.LayerCfg[1].AlphaMode = DMA2D_NO_MODIF_ALPHA;
  hdma2d.LayerCfg[1].InputAlpha = 0;
  if (HAL_DMA2D_Init(&hdma2d) != HAL_OK)
  {
    Error_Handler();
  }
  if (HAL_DMA2D_ConfigLayer(&hdma2d, 1) != HAL_OK)
  {
    Error_Handler();
  }

}

static void MX_I2C1_Init(void)
{
  /* USER CODE BEGIN I2C1_Init 0 */
  // 1. I2C 버스 복구 (SCL 9번 클록 생성) - 라인 잠김 방지
  GPIO_InitTypeDef GPIO_InitStruct_Rec = {0};
  __HAL_RCC_GPIOB_CLK_ENABLE();
  GPIO_InitStruct_Rec.Pin = GPIO_PIN_6 | GPIO_PIN_7;
  GPIO_InitStruct_Rec.Mode = GPIO_MODE_OUTPUT_OD;
  GPIO_InitStruct_Rec.Pull = GPIO_PULLUP;
  GPIO_InitStruct_Rec.Speed = GPIO_SPEED_FREQ_VERY_HIGH;
  HAL_GPIO_Init(GPIOB, &GPIO_InitStruct_Rec);

  HAL_GPIO_WritePin(GPIOB, GPIO_PIN_7, GPIO_PIN_SET);
  for(int i = 0; i < 9; i++) {
    HAL_GPIO_WritePin(GPIOB, GPIO_PIN_6, GPIO_PIN_RESET);
    HAL_Delay(5);
    HAL_GPIO_WritePin(GPIOB, GPIO_PIN_6, GPIO_PIN_SET);
    HAL_Delay(5);
  }
  /* USER CODE END I2C1_Init 0 */
  HAL_GPIO_WritePin(GPIOB, GPIO_PIN_7, GPIO_PIN_RESET);
  HAL_Delay(5);
  HAL_GPIO_WritePin(GPIOB, GPIO_PIN_7, GPIO_PIN_SET);
  HAL_Delay(5);

  hi2c1.Instance = I2C1;
  hi2c1.Init.ClockSpeed = 10000; // 10kHz 저속 모드 (안정성 최우선)
  hi2c1.Init.DutyCycle = I2C_DUTYCYCLE_2;
  hi2c1.Init.OwnAddress1 = 0;
  hi2c1.Init.AddressingMode = I2C_ADDRESSINGMODE_7BIT;
  hi2c1.Init.DualAddressMode = I2C_DUALADDRESS_DISABLE;
  hi2c1.Init.OwnAddress2 = 0;
  hi2c1.Init.GeneralCallMode = I2C_GENERALCALL_DISABLE;

  // [가장 중요] NoStretchMode를 DISABLE로 해야 센서의 응답 대기를 허용함
  hi2c1.Init.NoStretchMode = I2C_NOSTRETCH_DISABLE;

  if (HAL_I2C_Init(&hi2c1) != HAL_OK)
  {
    Error_Handler();
  }

  // 필터 비활성화 (타이밍 왜곡 방지)
  HAL_I2CEx_ConfigAnalogFilter(&hi2c1, I2C_ANALOGFILTER_DISABLE);
  HAL_I2CEx_ConfigDigitalFilter(&hi2c1, 0);

  /* USER CODE BEGIN I2C1_Init 2 */
  // 2. 강제 풀업 및 Alternate Function 재설정
  GPIO_InitTypeDef GPIO_InitStruct_Final = {0};
  GPIO_InitStruct_Final.Pin = GPIO_PIN_6|GPIO_PIN_7;
  GPIO_InitStruct_Final.Mode = GPIO_MODE_AF_OD;
  GPIO_InitStruct_Final.Pull = GPIO_PULLUP;
  GPIO_InitStruct_Final.Speed = GPIO_SPEED_FREQ_VERY_HIGH;
  GPIO_InitStruct_Final.Alternate = GPIO_AF4_I2C1;
  HAL_GPIO_Init(GPIOB, &GPIO_InitStruct_Final);

  // 3. I2C 인터럽트 우선순위 설정 (FreeRTOS 대응)
  HAL_NVIC_SetPriority(I2C1_EV_IRQn, 5, 0);
  HAL_NVIC_EnableIRQ(I2C1_EV_IRQn);
  HAL_NVIC_SetPriority(I2C1_ER_IRQn, 5, 0);
  HAL_NVIC_EnableIRQ(I2C1_ER_IRQn);
  /* USER CODE END I2C1_Init 2 */
}

static void MX_I2C3_Init(void)
{

  hi2c3.Instance = I2C3;
  hi2c3.Init.ClockSpeed = 10000;
  hi2c3.Init.DutyCycle = I2C_DUTYCYCLE_2;
  hi2c3.Init.OwnAddress1 = 0;
  hi2c3.Init.AddressingMode = I2C_ADDRESSINGMODE_7BIT;
  hi2c3.Init.DualAddressMode = I2C_DUALADDRESS_DISABLE;
  hi2c3.Init.OwnAddress2 = 0;
  hi2c3.Init.GeneralCallMode = I2C_GENERALCALL_DISABLE;
  hi2c3.Init.NoStretchMode = I2C_NOSTRETCH_DISABLE;
  if (HAL_I2C_Init(&hi2c3) != HAL_OK)
  {
    Error_Handler();
  }

  /** Configure Analogue filter
  */
  if (HAL_I2CEx_ConfigAnalogFilter(&hi2c3, I2C_ANALOGFILTER_ENABLE) != HAL_OK)
  {
    Error_Handler();
  }

  /** Configure Digital filter
  */
  if (HAL_I2CEx_ConfigDigitalFilter(&hi2c3, 0) != HAL_OK)
  {
    Error_Handler();
  }

}

static void MX_LTDC_Init(void)
{

  LTDC_LayerCfgTypeDef pLayerCfg = {0};

  hltdc.Instance = LTDC;
  hltdc.Init.HSPolarity = LTDC_HSPOLARITY_AL;
  hltdc.Init.VSPolarity = LTDC_VSPOLARITY_AL;
  hltdc.Init.DEPolarity = LTDC_DEPOLARITY_AL;
  hltdc.Init.PCPolarity = LTDC_PCPOLARITY_IPC;
  hltdc.Init.HorizontalSync = 9;
  hltdc.Init.VerticalSync = 1;
  hltdc.Init.AccumulatedHBP = 29;
  hltdc.Init.AccumulatedVBP = 3;
  hltdc.Init.AccumulatedActiveW = 269;
  hltdc.Init.AccumulatedActiveH = 323;
  hltdc.Init.TotalWidth = 279;
  hltdc.Init.TotalHeigh = 327;
  hltdc.Init.Backcolor.Blue = 0;
  hltdc.Init.Backcolor.Green = 0;
  hltdc.Init.Backcolor.Red = 0;
  if (HAL_LTDC_Init(&hltdc) != HAL_OK)
  {
    Error_Handler();
  }
  pLayerCfg.WindowX0 = 0;
  pLayerCfg.WindowX1 = 240;
  pLayerCfg.WindowY0 = 0;
  pLayerCfg.WindowY1 = 320;
  pLayerCfg.PixelFormat = LTDC_PIXEL_FORMAT_RGB565;
  pLayerCfg.Alpha = 255;
  pLayerCfg.Alpha0 = 0;
  pLayerCfg.BlendingFactor1 = LTDC_BLENDING_FACTOR1_PAxCA;
  pLayerCfg.BlendingFactor2 = LTDC_BLENDING_FACTOR2_PAxCA;
  pLayerCfg.FBStartAdress = 0xD0000000;
  pLayerCfg.ImageWidth = 240;
  pLayerCfg.ImageHeight = 320;
  pLayerCfg.Backcolor.Blue = 0;
  pLayerCfg.Backcolor.Green = 0;
  pLayerCfg.Backcolor.Red = 0;
  if (HAL_LTDC_ConfigLayer(&hltdc, &pLayerCfg, 0) != HAL_OK)
  {
    Error_Handler();
  }

}

static void MX_SPI5_Init(void)
{

  /* SPI5 parameter configuration*/
  hspi5.Instance = SPI5;
  hspi5.Init.Mode = SPI_MODE_MASTER;
  hspi5.Init.Direction = SPI_DIRECTION_2LINES;
  hspi5.Init.DataSize = SPI_DATASIZE_8BIT;
  hspi5.Init.CLKPolarity = SPI_POLARITY_LOW;
  hspi5.Init.CLKPhase = SPI_PHASE_1EDGE;
  hspi5.Init.NSS = SPI_NSS_SOFT;
  hspi5.Init.BaudRatePrescaler = SPI_BAUDRATEPRESCALER_16;
  hspi5.Init.FirstBit = SPI_FIRSTBIT_MSB;
  hspi5.Init.TIMode = SPI_TIMODE_DISABLE;
  hspi5.Init.CRCCalculation = SPI_CRCCALCULATION_DISABLE;
  hspi5.Init.CRCPolynomial = 10;
  if (HAL_SPI_Init(&hspi5) != HAL_OK)
  {
    Error_Handler();
  }

}

static void MX_TIM1_Init(void)
{

  TIM_ClockConfigTypeDef sClockSourceConfig = {0};
  TIM_MasterConfigTypeDef sMasterConfig = {0};

  htim1.Instance = TIM1;
  htim1.Init.Prescaler = 0;
  htim1.Init.CounterMode = TIM_COUNTERMODE_UP;
  htim1.Init.Period = 65535;
  htim1.Init.ClockDivision = TIM_CLOCKDIVISION_DIV1;
  htim1.Init.RepetitionCounter = 0;
  htim1.Init.AutoReloadPreload = TIM_AUTORELOAD_PRELOAD_DISABLE;
  if (HAL_TIM_Base_Init(&htim1) != HAL_OK)
  {
    Error_Handler();
  }
  sClockSourceConfig.ClockSource = TIM_CLOCKSOURCE_INTERNAL;
  if (HAL_TIM_ConfigClockSource(&htim1, &sClockSourceConfig) != HAL_OK)
  {
    Error_Handler();
  }
  sMasterConfig.MasterOutputTrigger = TIM_TRGO_RESET;
  sMasterConfig.MasterSlaveMode = TIM_MASTERSLAVEMODE_DISABLE;
  if (HAL_TIMEx_MasterConfigSynchronization(&htim1, &sMasterConfig) != HAL_OK)
  {
    Error_Handler();
  }

}

static void MX_USART1_UART_Init(void)
{

  huart1.Instance = USART1;
  huart1.Init.BaudRate = 115200;
  huart1.Init.WordLength = UART_WORDLENGTH_8B;
  huart1.Init.StopBits = UART_STOPBITS_1;
  huart1.Init.Parity = UART_PARITY_NONE;
  huart1.Init.Mode = UART_MODE_TX_RX;
  huart1.Init.HwFlowCtl = UART_HWCONTROL_NONE;
  huart1.Init.OverSampling = UART_OVERSAMPLING_16;
  if (HAL_UART_Init(&huart1) != HAL_OK)
  {
    Error_Handler();
  }

}

static void MX_GPIO_Init(void)
{
  GPIO_InitTypeDef GPIO_InitStruct = {0};

  /* GPIO Ports Clock Enable */
  __HAL_RCC_GPIOC_CLK_ENABLE();
  __HAL_RCC_GPIOF_CLK_ENABLE();
  __HAL_RCC_GPIOH_CLK_ENABLE();
  __HAL_RCC_GPIOA_CLK_ENABLE();
  __HAL_RCC_GPIOB_CLK_ENABLE();
  __HAL_RCC_GPIOG_CLK_ENABLE();
  __HAL_RCC_GPIOE_CLK_ENABLE();
  __HAL_RCC_GPIOD_CLK_ENABLE();

  /*Configure GPIO pin Output Level */
  HAL_GPIO_WritePin(GPIOC, NCS_MEMS_SPI_Pin|CSX_Pin|OTG_FS_PSO_Pin, GPIO_PIN_RESET);

  /*Configure GPIO pin Output Level */
  HAL_GPIO_WritePin(ACP_RST_GPIO_Port, ACP_RST_Pin, GPIO_PIN_RESET);

  /*Configure GPIO pin Output Level */
  HAL_GPIO_WritePin(GPIOD, RDX_Pin|WRX_DCX_Pin, GPIO_PIN_RESET);

  /*Configure GPIO pin Output Level */
  HAL_GPIO_WritePin(GPIOG, LD3_Pin|LD4_Pin, GPIO_PIN_RESET);

  /*Configure GPIO pins : A0_Pin A1_Pin A2_Pin A3_Pin
                           A4_Pin A5_Pin SDNRAS_Pin A6_Pin
                           A7_Pin A8_Pin A9_Pin */
  GPIO_InitStruct.Pin = A0_Pin|A1_Pin|A2_Pin|A3_Pin
                          |A4_Pin|A5_Pin|SDNRAS_Pin|A6_Pin
                          |A7_Pin|A8_Pin|A9_Pin;
  GPIO_InitStruct.Mode = GPIO_MODE_AF_PP;
  GPIO_InitStruct.Pull = GPIO_NOPULL;
  GPIO_InitStruct.Speed = GPIO_SPEED_FREQ_VERY_HIGH;
  GPIO_InitStruct.Alternate = GPIO_AF12_FMC;
  HAL_GPIO_Init(GPIOF, &GPIO_InitStruct);

  /*Configure GPIO pin : SDNWE_Pin */
  GPIO_InitStruct.Pin = SDNWE_Pin;
  GPIO_InitStruct.Mode = GPIO_MODE_AF_PP;
  GPIO_InitStruct.Pull = GPIO_NOPULL;
  GPIO_InitStruct.Speed = GPIO_SPEED_FREQ_VERY_HIGH;
  GPIO_InitStruct.Alternate = GPIO_AF12_FMC;
  HAL_GPIO_Init(SDNWE_GPIO_Port, &GPIO_InitStruct);

  /*Configure GPIO pins : NCS_MEMS_SPI_Pin CSX_Pin OTG_FS_PSO_Pin */
  GPIO_InitStruct.Pin = NCS_MEMS_SPI_Pin|CSX_Pin|OTG_FS_PSO_Pin;
  GPIO_InitStruct.Mode = GPIO_MODE_OUTPUT_PP;
  GPIO_InitStruct.Pull = GPIO_NOPULL;
  GPIO_InitStruct.Speed = GPIO_SPEED_FREQ_LOW;
  HAL_GPIO_Init(GPIOC, &GPIO_InitStruct);

  /*Configure GPIO pins : B1_Pin MEMS_INT1_Pin MEMS_INT2_Pin TP_INT1_Pin */
  GPIO_InitStruct.Pin = B1_Pin|MEMS_INT1_Pin|MEMS_INT2_Pin|TP_INT1_Pin;
  GPIO_InitStruct.Mode = GPIO_MODE_EVT_RISING;
  GPIO_InitStruct.Pull = GPIO_NOPULL;
  HAL_GPIO_Init(GPIOA, &GPIO_InitStruct);

  /*Configure GPIO pin : ACP_RST_Pin */
  GPIO_InitStruct.Pin = ACP_RST_Pin;
  GPIO_InitStruct.Mode = GPIO_MODE_OUTPUT_PP;
  GPIO_InitStruct.Pull = GPIO_NOPULL;
  GPIO_InitStruct.Speed = GPIO_SPEED_FREQ_LOW;
  HAL_GPIO_Init(ACP_RST_GPIO_Port, &GPIO_InitStruct);

  /*Configure GPIO pin : OTG_FS_OC_Pin */
  GPIO_InitStruct.Pin = OTG_FS_OC_Pin;
  GPIO_InitStruct.Mode = GPIO_MODE_EVT_RISING;
  GPIO_InitStruct.Pull = GPIO_NOPULL;
  HAL_GPIO_Init(OTG_FS_OC_GPIO_Port, &GPIO_InitStruct);

  /*Configure GPIO pin : BOOT1_Pin */
  GPIO_InitStruct.Pin = BOOT1_Pin;
  GPIO_InitStruct.Mode = GPIO_MODE_INPUT;
  GPIO_InitStruct.Pull = GPIO_NOPULL;
  HAL_GPIO_Init(BOOT1_GPIO_Port, &GPIO_InitStruct);

  /*Configure GPIO pins : A10_Pin A11_Pin BA0_Pin BA1_Pin
                           SDCLK_Pin SDNCAS_Pin */
  GPIO_InitStruct.Pin = A10_Pin|A11_Pin|BA0_Pin|BA1_Pin
                          |SDCLK_Pin|SDNCAS_Pin;
  GPIO_InitStruct.Mode = GPIO_MODE_AF_PP;
  GPIO_InitStruct.Pull = GPIO_NOPULL;
  GPIO_InitStruct.Speed = GPIO_SPEED_FREQ_VERY_HIGH;
  GPIO_InitStruct.Alternate = GPIO_AF12_FMC;
  HAL_GPIO_Init(GPIOG, &GPIO_InitStruct);

  /*Configure GPIO pins : D4_Pin D5_Pin D6_Pin D7_Pin
                           D8_Pin D9_Pin D10_Pin D11_Pin
                           D12_Pin NBL0_Pin NBL1_Pin */
  GPIO_InitStruct.Pin = D4_Pin|D5_Pin|D6_Pin|D7_Pin
                          |D8_Pin|D9_Pin|D10_Pin|D11_Pin
                          |D12_Pin|NBL0_Pin|NBL1_Pin;
  GPIO_InitStruct.Mode = GPIO_MODE_AF_PP;
  GPIO_InitStruct.Pull = GPIO_NOPULL;
  GPIO_InitStruct.Speed = GPIO_SPEED_FREQ_VERY_HIGH;
  GPIO_InitStruct.Alternate = GPIO_AF12_FMC;
  HAL_GPIO_Init(GPIOE, &GPIO_InitStruct);

  /*Configure GPIO pins : D13_Pin D14_Pin D15_Pin D0_Pin
                           D1_Pin D2_Pin D3_Pin */
  GPIO_InitStruct.Pin = D13_Pin|D14_Pin|D15_Pin|D0_Pin
                          |D1_Pin|D2_Pin|D3_Pin;
  GPIO_InitStruct.Mode = GPIO_MODE_AF_PP;
  GPIO_InitStruct.Pull = GPIO_NOPULL;
  GPIO_InitStruct.Speed = GPIO_SPEED_FREQ_VERY_HIGH;
  GPIO_InitStruct.Alternate = GPIO_AF12_FMC;
  HAL_GPIO_Init(GPIOD, &GPIO_InitStruct);

  /*Configure GPIO pin : TE_Pin */
  GPIO_InitStruct.Pin = TE_Pin;
  GPIO_InitStruct.Mode = GPIO_MODE_INPUT;
  GPIO_InitStruct.Pull = GPIO_NOPULL;
  HAL_GPIO_Init(TE_GPIO_Port, &GPIO_InitStruct);

  /*Configure GPIO pins : RDX_Pin WRX_DCX_Pin */
  GPIO_InitStruct.Pin = RDX_Pin|WRX_DCX_Pin;
  GPIO_InitStruct.Mode = GPIO_MODE_OUTPUT_PP;
  GPIO_InitStruct.Pull = GPIO_NOPULL;
  GPIO_InitStruct.Speed = GPIO_SPEED_FREQ_LOW;
  HAL_GPIO_Init(GPIOD, &GPIO_InitStruct);

  /*Configure GPIO pins : LD3_Pin LD4_Pin */
  GPIO_InitStruct.Pin = LD3_Pin|LD4_Pin;
  GPIO_InitStruct.Mode = GPIO_MODE_OUTPUT_PP;
  GPIO_InitStruct.Pull = GPIO_NOPULL;
  GPIO_InitStruct.Speed = GPIO_SPEED_FREQ_LOW;
  HAL_GPIO_Init(GPIOG, &GPIO_InitStruct);

  /*Configure GPIO pin : SDCKE1_Pin */
  GPIO_InitStruct.Pin = SDCKE1_Pin;
  GPIO_InitStruct.Mode = GPIO_MODE_AF_PP;
  GPIO_InitStruct.Pull = GPIO_NOPULL;
  GPIO_InitStruct.Speed = GPIO_SPEED_FREQ_VERY_HIGH;
  GPIO_InitStruct.Alternate = GPIO_AF12_FMC;
  HAL_GPIO_Init(SDCKE1_GPIO_Port, &GPIO_InitStruct);

}

void StartDefaultTask(void const * argument)
{
  /* init code for USB_HOST */
  MX_USB_HOST_Init();
  /* USER CODE BEGIN 5 */
  /* BNO055 ?���? ?��?��?�� ?��캐너 */
	for(uint16_t i = 0; i < 128; i++) {
	  // 0x28 (기본) ?��?�� 0x29 (ADR ?? High) ?��?��
	  if (HAL_I2C_IsDeviceReady(&hi2c1, (uint16_t)(i << 1), 3, 5) == HAL_OK) {
		  char msg[64];
		  sprintf(msg, "Device Found at: 0x%02X\r\n", i);
		  HAL_UART_Transmit(&huart1, (uint8_t*)msg, strlen(msg), 100);
	  }
	}
  /* Infinite loop */
  for(;;)
  {
    osDelay(1);
  }
  /* USER CODE END 5 */
}

void HAL_TIM_PeriodElapsedCallback(TIM_HandleTypeDef *htim)
{
  if (htim->Instance == TIM6) {
    HAL_IncTick();
  }
}

void Error_Handler(void)
{
  __disable_irq();
  while (1)
  {
  }
}

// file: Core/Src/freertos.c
/* freertos.c */
#include "FreeRTOS.h"
#include "task.h"
#include "main.h"
#include "cmsis_os.h"

/* USER CODE BEGIN Includes */
#include "stm32f4xx_hal.h"
#include "bno055_stm32.h"
#include "shared_data.h"
#include <string.h>
#include <stdlib.h>
#include <stdio.h>
#include <math.h>
#include <stdbool.h>
/* USER CODE END Includes */

/* USER CODE BEGIN Variables */
extern I2C_HandleTypeDef  hi2c1;
extern UART_HandleTypeDef huart1;

__attribute__((used)) int _printf_float;
/* USER CODE END Variables */

/* Hook prototypes */
void vApplicationIdleHook(void);
void vApplicationStackOverflowHook(xTaskHandle xTask, signed char *pcTaskName);
void vApplicationMallocFailedHook(void);

__weak void vApplicationIdleHook(void) {}

void vApplicationStackOverflowHook(xTaskHandle xTask, signed char *pcTaskName)
{
    HAL_UART_Transmit(&huart1, (uint8_t*)"STACK OVERFLOW: ", 16, 100);
    HAL_UART_Transmit(&huart1, (uint8_t*)pcTaskName, strlen((char*)pcTaskName), 100);
    HAL_UART_Transmit(&huart1, (uint8_t*)"\r\n", 2, 100);
}

__weak void vApplicationMallocFailedHook(void) {}

/* GET_IDLE_TASK_MEMORY */
static StaticTask_t xIdleTaskTCBBuffer;
static StackType_t  xIdleStack[configMINIMAL_STACK_SIZE];

void vApplicationGetIdleTaskMemory(StaticTask_t **ppxIdleTaskTCBBuffer,
                                   StackType_t  **ppxIdleTaskStackBuffer,
                                   uint32_t      *pulIdleTaskStackSize)
{
    *ppxIdleTaskTCBBuffer   = &xIdleTaskTCBBuffer;
    *ppxIdleTaskStackBuffer = &xIdleStack[0];
    *pulIdleTaskStackSize   = configMINIMAL_STACK_SIZE;
}

/* ── 상수 정의 ──────────────────────────────── */
#define LPF_ALPHA  0.02f
#define DEAD_BAND  0.3f
#define G_THRESH   0.2f
#define ZUPT_HOLD  10
#define DT 0.01f

/* ── 헬퍼 함수 ──────────────────────────────── */
static inline float rad(float d) { return d * 0.01745329252f; }

void bodyToENU(float ax, float ay, float az,
               float yaw, float roll, float pitch,
               float *ex, float *ey, float *ez)
{
	float cy = cosf(rad(yaw)), sy = sinf(rad(yaw));
	float cp = cosf(rad(pitch)), sp = sinf(rad(pitch));
	float cr = cosf(rad(roll)), sr = sinf(rad(roll));

	float gx = cp*cy*ax + (sr*sp*cy - cr*sy)*ay + (cr*sp*cy + sr*sy)*az;
	float gy = cp*sy*ax + (sr*sp*sy + cr*cy)*ay + (cr*sp*sy - sr*cy)*az;
	float gz = -sp*ax + sr*cp*ay + cr*cp*az;

    *ex = gy; *ey = gx; *ez = -gz;
}

/* ── Task 전방 선언 ─────────────────────────── */
void SensorTask   (void const *argument);
void AdcsTask     (void const *argument);
void MissionTask  (void const *argument);
void TelemetryTask(void const *argument);
void CommandTask  (void const *argument);

/* ── FreeRTOS 초기화 ────────────────────────── */
void MX_FREERTOS_Init(void)
{
    /* Mutex를 Task보다 먼저 생성 */
    g_attitude_mutex = xSemaphoreCreateMutex();
    configASSERT(g_attitude_mutex != NULL);

    osThreadDef(Sensor,    SensorTask,    osPriorityNormal,      0, 256);
    osThreadCreate(osThread(Sensor),    NULL);

    osThreadDef(ADCS,      AdcsTask,      osPriorityBelowNormal, 0, 256);
    osThreadCreate(osThread(ADCS),      NULL);

    osThreadDef(Mission,   MissionTask,   osPriorityBelowNormal, 0, 256);
    osThreadCreate(osThread(Mission),   NULL);

    osThreadDef(Telemetry, TelemetryTask, osPriorityLow,         0, 256);
    osThreadCreate(osThread(Telemetry), NULL);

    osThreadDef(Command,   CommandTask,   osPriorityLow,         0, 256);
    osThreadCreate(osThread(Command),   NULL);
}

/* ── Sensor Task ────────────────────────────── */
void SensorTask(void const *argument)
{
    bno055_assignI2C(&hi2c1);
    bno055_setup();
    bno055_setOperationModeNDOF();
    osDelay(1000);

    float biasX=0, biasY=0, biasZ=0;
    float sumx=0, sumy=0, sumz=0;
    int cnt=0;
    float ax_f=0, ay_f=0, az_f=0;
    float vx=0, vy=0, vz=0;
    float px=0, py=0, pz=0;
    float totalDist=0;

    // 2초간 루프 실행
    unsigned long t0 = HAL_GetTick();
    while(HAL_GetTick()-t0<2000){

    	bno055_vector_t accel = bno055_getVectorLinearAccel();
    	sumx+=accel.x;
    	sumy+=accel.y;
    	sumz+=accel.z;
    	cnt++;
    	osDelay(10); //10ms마다 데이터 읽음
    }
    //평균값 계산
    biasX=sumx/cnt;
    biasY=sumy/cnt;
    biasZ=sumz/cnt;

    for (;;) {
    	//매 루프마다 자세(Euler)와 선형가속도 읽고 순수 가속도만 추출
    	bno055_vector_t euler = bno055_getVectorEuler();
    	bno055_vector_t lin   = bno055_getVectorLinearAccel();
    	float roll  = euler.y;
    	float pitch = euler.z;
    	float yaw   = euler.x;
    	float ax = lin.x - biasX;
    	float ay = lin.y - biasY;
    	float az = lin.z - biasZ;

    	//Body -> ENU
    	float ex, ey, ez;
    	bodyToENU(ax, ay, az, yaw, roll, pitch, &ex, &ey, &ez);  // 주소 넘기기

    	// LPF
        ax_f = (1.0f - LPF_ALPHA) * ax_f + LPF_ALPHA * ex;
        ay_f = (1.0f - LPF_ALPHA) * ay_f + LPF_ALPHA * ey;
        az_f = (1.0f - LPF_ALPHA) * az_f + LPF_ALPHA * ez;

        //Dead Band
        if (fabs(ax_f) < DEAD_BAND) ax_f = 0;
        if (fabs(ay_f) < DEAD_BAND) ay_f = 0;
        if (fabs(az_f) < DEAD_BAND) az_f = 0;

        //zupt
        bno055_vector_t gyro = bno055_getVectorGyroscope();
        float gNorm = sqrtf(gyro.x*gyro.x + gyro.y*gyro.y + gyro.z*gyro.z);
        if(gNorm<G_THRESH){
        	vx=0;vy=0;vz=0;
        }

        //적분
        vx += ax_f * DT;
        vy += ay_f * DT;
        vz += az_f * DT;

        px += vx * DT;
        py += vy * DT;
        pz += vz * DT;

        totalDist += sqrtf(vx*vx + vy*vy) * DT;

        //mutex
        if (xSemaphoreTake(g_attitude_mutex, pdMS_TO_TICKS(5)) == pdTRUE) {
            g_attitude.yaw   = euler.x;  // Heading
            g_attitude.roll  = euler.y;
            g_attitude.pitch = euler.z;
            g_attitude.vx = vx;  g_attitude.vy = vy;  g_attitude.vz = vz;
            g_attitude.px = px;  g_attitude.py = py;  g_attitude.pz = pz;
            g_attitude.totalDist = totalDist;
            g_attitude.zupt = (gNorm < G_THRESH);
            g_attitude.ax_f = ax_f;
            g_attitude.ay_f = ay_f;
            xSemaphoreGive(g_attitude_mutex);
        }

        osDelay(10); // 100Hz

    }
}

/* ── ADCS Task ─────────────────────────── */
void AdcsTask(void const *argument)
{
	float prevYaw = 0.0f;
	bool firstLoop = true;
    for (;;) {
        //mutex로 g_attitude 읽기
    	AttitudeData_t snap;
    	if(xSemaphoreTake(g_attitude_mutex, pdMS_TO_TICKS(10))==pdTRUE){
    		snap = g_attitude;
    		xSemaphoreGive(g_attitude_mutex);
    	}else{
    		osDelay(50);
    		continue;
    	}

    	float dYaw = fabsf(snap.yaw - prevYaw);
    	if(dYaw > 180.0f) dYaw = 360.0f - dYaw;
    	prevYaw = snap.yaw;

    	if(!firstLoop &&
    		(fabsf(snap.roll) > 45.0f || fabsf(snap.pitch)>45.0f || dYaw > 30.0f)){

    	    if(xSemaphoreTake(g_attitude_mutex, pdMS_TO_TICKS(10))==pdTRUE){
    	        g_attitude.state = SYS_FAULT;
    	        g_attitude.faultCount++;
    	        xSemaphoreGive(g_attitude_mutex);
    	    }

    		bno055_setup();               // 레지스터 초기화 (동작 모드 설정)
    		bno055_setOperationModeNDOF(); // NDOF 모드 재진입
    		osDelay(1000); // 센서 안정화 대기

    	    if(xSemaphoreTake(g_attitude_mutex, pdMS_TO_TICKS(10))==pdTRUE){
    	        if(g_attitude.faultCount >= 3)
    	            g_attitude.state = SYS_SAFE_MODE;
    	        else
    	            g_attitude.state = SYS_NORMAL;
    	        xSemaphoreGive(g_attitude_mutex);
    	    }
    	}
    	firstLoop = false;

        osDelay(20); // 50Hz,20ms
    }
}

/* ── Mission Task ──────────────────────── */
void MissionTask(void const *argument)
{
	float initialYaw = 0.0f;
	float prevDist = 0.0f;
    for (;;) {
    	//mutex로 g_attitude 읽기
    	AttitudeData_t snap;
    	if(xSemaphoreTake(g_attitude_mutex, pdMS_TO_TICKS(10))==pdTRUE){
    		snap = g_attitude;
    		xSemaphoreGive(g_attitude_mutex);
    	}else{
    		osDelay(50);
    		continue;
    	}

    	float totalDist = snap.totalDist * g_distanceGain;

    	if(snap.missionStep==0){

    	}
    	//홀수 -> 전진
    	else if(snap.missionStep==1||snap.missionStep==3||snap.missionStep==5){

    		//한번 늘어난 거리는 줄어들지 않게
    		if(totalDist<prevDist) totalDist = prevDist;
    		else prevDist = totalDist;

    		//10m 전진 -> 다음스텝
    		if(totalDist >= 10.0f){
    			prevDist = 0.0f;
    			initialYaw = snap.yaw;
    		    if(xSemaphoreTake(g_attitude_mutex, pdMS_TO_TICKS(10))==pdTRUE){
    		        g_attitude.missionStep++;
    		        xSemaphoreGive(g_attitude_mutex);
    		    }
    		}
    	}
    	//짝수 -> 회전
    	else if(snap.missionStep==2||snap.missionStep==4){

    		float yawChange = fabsf(snap.yaw -initialYaw);
    		if(yawChange > 180.0f) yawChange = 360.0f-yawChange;

    		if(yawChange >= 90.0f){
    			prevDist = 0.0f;
    	    	if(xSemaphoreTake(g_attitude_mutex, pdMS_TO_TICKS(10))==pdTRUE){
    	    		g_attitude.totalDist = 0;
    	    		g_attitude.missionStep++;
    	    		xSemaphoreGive(g_attitude_mutex);
    	    	}
    		}
    	}
    	else if(snap.missionStep==6){
    	    if(xSemaphoreTake(g_attitude_mutex, pdMS_TO_TICKS(10))==pdTRUE){
    	        g_attitude.missionStep = 0;
    	        xSemaphoreGive(g_attitude_mutex);
    	    }
    	}

        osDelay(50); // 20Hz
    }
}

/* ── Telemetry Task ────────────────────── */
void TelemetryTask(void const *argument)
{
    for (;;) {
    	HAL_UART_Transmit(&huart1, (uint8_t*)"T\r\n", 3, 100);
        AttitudeData_t snap;

        //MUTEX
        if (xSemaphoreTake(g_attitude_mutex, pdMS_TO_TICKS(50)) == pdTRUE) {
            snap = g_attitude;  // 구조체 통째로 복사 후 즉시 반환
            xSemaphoreGive(g_attitude_mutex);
        }else{
        	osDelay(100);
        	continue;
        }

        char buf[128];
        int r = (int)snap.roll;
        int p = (int)snap.pitch;
        int y = (int)snap.yaw;
        int dist = (int)snap.totalDist;
        int st   = (int)snap.state;    // 0=NORMAL 1=FAULT 2=SAFE
        int ms   = snap.missionStep;
        int axf = (int)(snap.ax_f * 100);  // 소수점 2자리 표현
        int ayf = (int)(snap.ay_f * 100);
        int vx  = (int)(snap.vx  * 100);
        int vy  = (int)(snap.vy  * 100);
        int len = snprintf(buf, sizeof(buf),
            "R:%d P:%d Y:%d STEP:%d DIST:%d ST:%d AX:%d AY:%d VX:%d VY:%d\r\n",
			r, p, y, ms, dist, st, axf, ayf, vx, vy);
        HAL_UART_Transmit(&huart1, (uint8_t*)buf, len, 100);

        osDelay(100); // 10Hz
    }
}

/* ── Command Task ──────────────────────── */
void CommandTask(void const *argument)
{
    uint8_t cmd;
    for (;;) {
        // 블로킹 수신 — 명령 올 때까지 여기서 기다림
        HAL_UART_Receive(&huart1, &cmd, 1, HAL_MAX_DELAY);

        if(cmd == 'S'){
            // Mutex로 missionStep = 1
    	    if(xSemaphoreTake(g_attitude_mutex, pdMS_TO_TICKS(10))==pdTRUE){
    	        g_attitude.missionStep = 1;
    	        xSemaphoreGive(g_attitude_mutex);
    	    }
        }
        else if(cmd == 'R'){
            // Mutex로 missionStep = 0, totalDist = 0, faultCount = 0
    	    if(xSemaphoreTake(g_attitude_mutex, pdMS_TO_TICKS(10))==pdTRUE){
    	        g_attitude.missionStep = 0;
    	        g_attitude.totalDist = 0;
    	        g_attitude.faultCount = 0;
    	        xSemaphoreGive(g_attitude_mutex);
    	    }
        }
        else if(cmd == 'G'){
            // 숫자 문자열 추가 수신 후 g_distanceGain 업데이트
            char buf[8] = {0};
            HAL_UART_Receive(&huart1, (uint8_t*)buf, 7, 1000);
            g_distanceGain = (float)atof(buf);
        }
    }
}
